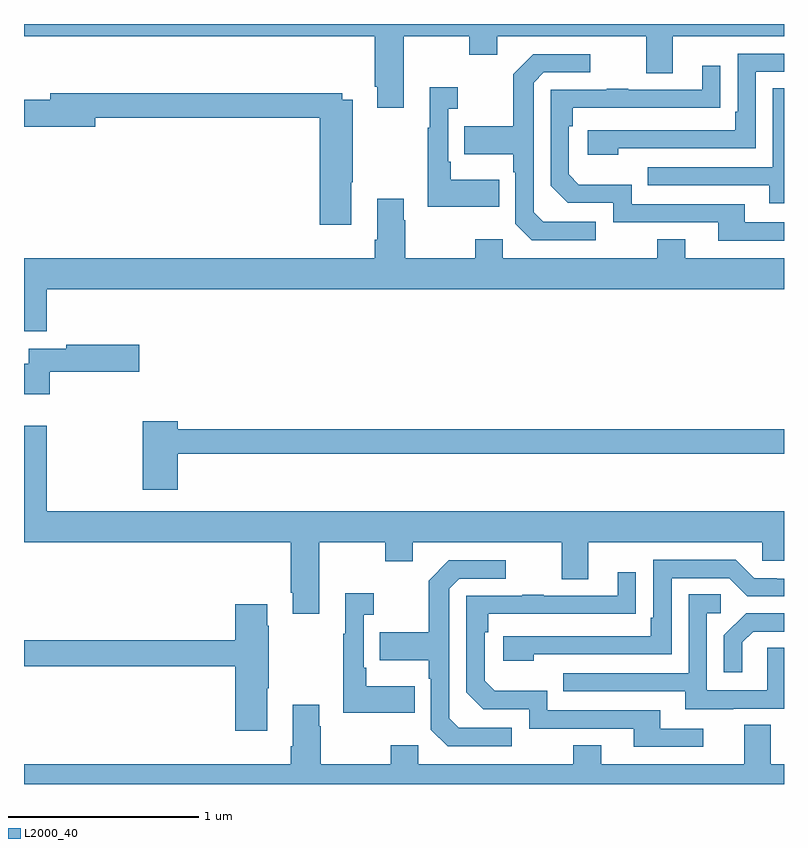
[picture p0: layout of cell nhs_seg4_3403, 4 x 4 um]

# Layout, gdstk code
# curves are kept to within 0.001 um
import gdstk
lib = gdstk.Library(unit=1e-6, precision=1e-09)
def P(c, l, *ps):  # polygons
    for p in ps: c.add(gdstk.Polygon(p, *l))
L2000_40 = (2000, 40)

nhs_seg4_3403 = lib.new_cell('nhs_seg4_3403')
P(nhs_seg4_3403, L2000_40, [(292.999,780.836),(293.344,780.836),(293.344,780.737),(293.491,780.737),(293.491,780.836),(294.275,780.836),(294.275,780.642),(294.415,780.642),(294.415,780.836),(295,780.836),(295,780.9),(291,780.9),(291,780.836),(292.847,780.836),(292.847,780.571),(292.859,780.571),(292.859,780.459),(292.999,780.459)],
  [(294.128,780.246),(294.852,780.246),(294.852,780.648),(295,780.648),(295,780.744),(294.756,780.744),(294.756,780.439),(294.743,780.439),(294.743,780.342),(293.967,780.342),(293.967,780.212),(294.128,780.212)],
  [(294.01,779.859),(293.733,779.859),(293.682,779.91),(293.682,780.591),(293.736,780.645),(293.98,780.645),(293.98,780.741),(293.679,780.741),(293.574,780.635),(293.574,780.363),(293.317,780.363),(293.317,780.215),(293.574,780.215),(293.574,780.119),(293.586,780.119),(293.586,779.85),(293.673,779.763),(294.01,779.763)],
  [(295,779.856),(294.793,779.856),(294.793,779.952),(294.198,779.952),(294.198,780.055),(293.921,780.055),(293.868,780.108),(293.868,780.362),(293.888,780.362),(293.888,780.459),(294.665,780.46),(294.665,780.679),(294.569,780.679),(294.569,780.555),(294.179,780.555),(294.179,780.56),(294.067,780.56),(294.067,780.555),(293.772,780.555),(293.772,780.048),(293.862,779.958),(294.102,779.958),(294.102,779.856),(294.653,779.856),(294.653,779.76),(295,779.76)],
  [(293.501,780.079),(293.245,780.079),(293.245,780.175),(293.232,780.175),(293.232,780.455),(293.284,780.455),(293.284,780.568),(293.135,780.568),(293.135,780.355),(293.124,780.355),(293.124,779.939),(293.501,779.939)],
  [(295,780.563),(294.942,780.563),(294.942,780.147),(294.283,780.147),(294.283,780.051),(294.923,780.051),(294.923,779.957),(295,779.957)],
  [(292.723,780.067),(292.731,780.067),(292.731,780.502),(292.674,780.502),(292.674,780.535),(291.137,780.535),(291.137,780.501),(291,780.501),(291,780.359),(291.376,780.359),(291.376,780.406),(292.556,780.406),(292.556,779.844),(292.723,779.844)],
  [(292.859,779.98),(292.859,779.764),(292.847,779.764),(292.847,779.668),(291,779.668),(291,779.283),(291.121,779.283),(291.121,779.504),(295,779.504),(295,779.668),(294.481,779.668),(294.481,779.767),(294.334,779.767),(294.334,779.668),(293.52,779.668),(293.52,779.767),(293.374,779.767),(293.374,779.668),(293.007,779.668),(293.007,779.867),(292.999,779.867),(292.999,779.98)],
  [(291.136,779.069),(291.607,779.069),(291.607,779.211),(291.222,779.211),(291.222,779.191),(291.026,779.191),(291.026,779.113),(291,779.113),(291,778.952),(291.136,778.952)],
  [(291.809,778.638),(295,778.638),(295,778.766),(291.809,778.766),(291.809,778.81),(291.626,778.81),(291.626,778.449),(291.809,778.449)],
  [(292.555,778.172),(292.9,778.172),(292.9,778.073),(293.047,778.073),(293.047,778.172),(293.831,778.172),(293.831,777.978),(293.971,777.978),(293.971,778.172),(294.885,778.172),(294.885,778.074),(295,778.074),(295,778.336),(291.121,778.336),(291.121,778.786),(291,778.786),(291,778.172),(292.403,778.172),(292.403,777.907),(292.415,777.907),(292.415,777.795),(292.555,777.795)],
  [(293.684,777.582),(294.408,777.582),(294.408,777.984),(294.711,777.984),(294.807,777.888),(295,777.888),(295,777.981),(294.962,777.981),(294.962,777.984),(294.843,777.984),(294.747,778.08),(294.312,778.08),(294.312,777.775),(294.299,777.775),(294.299,777.678),(293.523,777.678),(293.523,777.548),(293.684,777.548)],
  [(293.566,777.195),(293.289,777.195),(293.238,777.246),(293.238,777.927),(293.292,777.981),(293.536,777.981),(293.536,778.077),(293.235,778.077),(293.13,777.971),(293.13,777.699),(292.873,777.699),(292.873,777.551),(293.13,777.551),(293.13,777.455),(293.142,777.455),(293.142,777.186),(293.229,777.099),(293.566,777.099)],
  [(294.574,777.192),(294.349,777.192),(294.349,777.288),(293.754,777.288),(293.754,777.391),(293.477,777.391),(293.424,777.444),(293.424,777.698),(293.444,777.698),(293.444,777.795),(294.221,777.796),(294.221,778.015),(294.125,778.015),(294.125,777.891),(293.735,777.891),(293.735,777.896),(293.623,777.896),(293.623,777.891),(293.328,777.891),(293.328,777.384),(293.418,777.294),(293.658,777.294),(293.658,777.192),(294.209,777.192),(294.209,777.096),(294.574,777.096)],
  [(293.057,777.415),(292.801,777.415),(292.801,777.511),(292.788,777.511),(292.788,777.791),(292.84,777.791),(292.84,777.904),(292.691,777.904),(292.691,777.691),(292.68,777.691),(292.68,777.275),(293.057,777.275)],
  [(294.733,777.297),(295,777.297),(295,777.617),(294.912,777.617),(294.912,777.393),(294.594,777.393),(294.594,777.798),(294.667,777.798),(294.667,777.899),(294.498,777.899),(294.498,777.483),(293.839,777.483),(293.839,777.387),(294.479,777.387),(294.479,777.293),(294.733,777.293)],
  [(292.279,777.403),(292.287,777.403),(292.287,777.734),(292.279,777.734),(292.279,777.847),(292.112,777.847),(292.112,777.656),(291,777.656),(291,777.52),(292.112,777.52),(292.112,777.18),(292.279,777.18)],
  [(294.781,777.645),(294.838,777.702),(295,777.702),(295,777.798),(294.8,777.798),(294.684,777.682),(294.684,777.489),(294.781,777.489)],
  [(294.791,777.212),(294.791,777.004),(294.037,777.004),(294.037,777.103),(293.89,777.103),(293.89,777.004),(293.076,777.004),(293.076,777.103),(292.93,777.103),(292.93,777.004),(292.563,777.004),(292.563,777.203),(292.555,777.203),(292.555,777.316),(292.415,777.316),(292.415,777.1),(292.403,777.1),(292.403,777.004),(291,777.004),(291,776.9),(295,776.9),(295,777.004),(294.931,777.004),(294.931,777.212)])

lib.write_gds('nhs_seg4_3403.gds')
